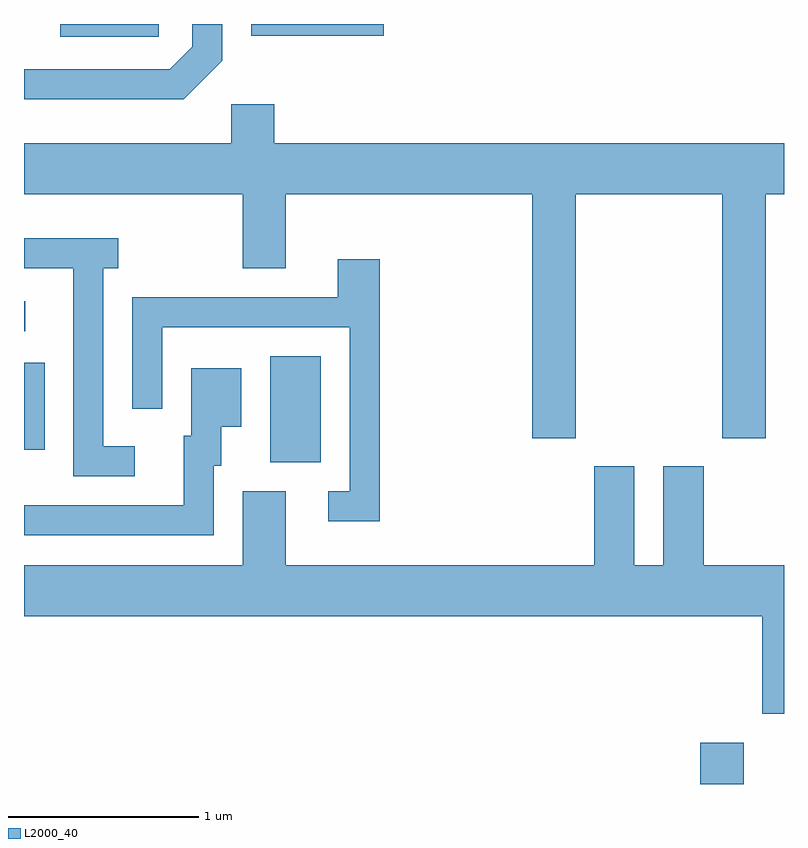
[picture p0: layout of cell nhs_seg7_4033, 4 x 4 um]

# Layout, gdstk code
import gdstk
lib = gdstk.Library(unit=1e-6, precision=1e-09)
def R(c, l, rs):  # rectangles x0, y0, x1, y1
    for r in rs: c.add(gdstk.rectangle(r[:2], r[2:], *l))
def P(c, l, *ps):  # polygons
    for p in ps: c.add(gdstk.Polygon(p, *l))
L2000_40 = (2000, 40)

nhs_seg7_4033 = lib.new_cell('nhs_seg7_4033')
R(nhs_seg7_4033, L2000_40, [(311.171,1782.252,311.399,1782.469), (308.906,1783.946,309.174,1784.504), (307.611,1784.011,307.719,1784.469), (307.611,1784.636,307.618,1784.794), (307.803,1786.186,308.319,1786.252), (308.806,1786.191,309.504,1786.252)])
P(nhs_seg7_4033, L2000_40, [(308.654,1786.059),(308.654,1786.252),(308.496,1786.252),(308.496,1786.132),(308.379,1786.014),(307.611,1786.014),(307.611,1785.856),(308.452,1785.856)],
  [(310.514,1785.356),(311.286,1785.356),(311.286,1784.071),(311.514,1784.071),(311.514,1785.356),(311.611,1785.356),(311.611,1785.624),(308.929,1785.624),(308.929,1785.829),(308.701,1785.829),(308.701,1785.624),(307.611,1785.624),(307.611,1785.356),(308.761,1785.356),(308.761,1784.966),(308.989,1784.966),(308.989,1785.356),(310.286,1785.356),(310.286,1784.071),(310.514,1784.071)],
  [(308.193,1784.029),(308.029,1784.029),(308.029,1784.966),(308.108,1784.966),(308.108,1785.124),(307.611,1785.124),(307.611,1784.966),(307.871,1784.966),(307.871,1783.871),(308.193,1783.871)],
  [(309.484,1785.014),(309.261,1785.014),(309.261,1784.814),(308.181,1784.814),(308.181,1784.228),(308.339,1784.228),(308.339,1784.656),(309.326,1784.656),(309.326,1783.794),(309.213,1783.794),(309.213,1783.636),(309.484,1783.636)],
  [(308.609,1783.926),(308.649,1783.926),(308.649,1784.131),(308.754,1784.131),(308.754,1784.439),(308.491,1784.439),(308.491,1784.084),(308.451,1784.084),(308.451,1783.719),(307.611,1783.719),(307.611,1783.561),(308.609,1783.561)],
  [(311.496,1782.621),(311.611,1782.621),(311.611,1783.404),(311.189,1783.404),(311.189,1783.924),(310.976,1783.924),(310.976,1783.404),(310.824,1783.404),(310.824,1783.924),(310.611,1783.924),(310.611,1783.404),(308.989,1783.404),(308.989,1783.794),(308.761,1783.794),(308.761,1783.404),(307.611,1783.404),(307.611,1783.136),(311.496,1783.136)])

lib.write_gds('nhs_seg7_4033.gds')
